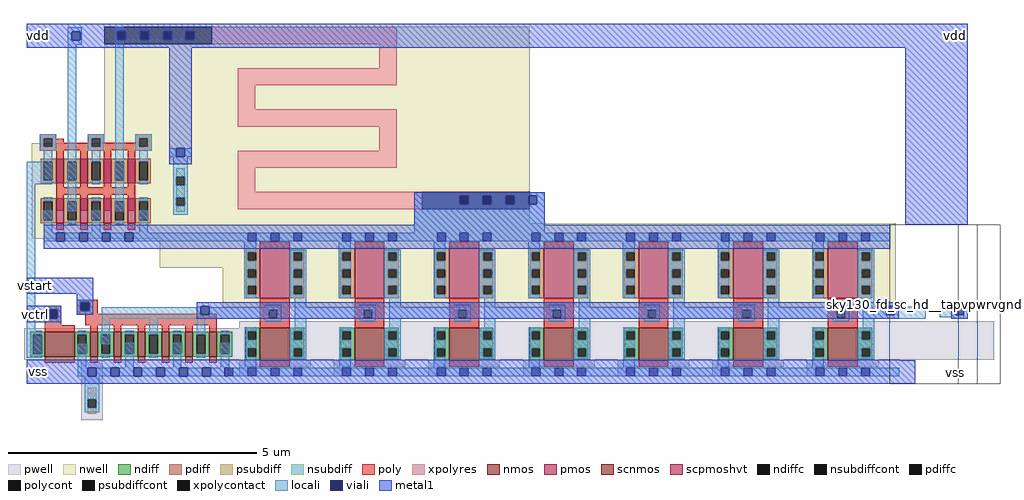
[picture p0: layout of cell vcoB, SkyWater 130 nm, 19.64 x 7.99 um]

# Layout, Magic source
magic
tech sky130A
magscale 1 2
<< nwell >>
rect 6 991 40 1005
rect 198 991 232 1005
rect -40 961 278 991
rect 6 953 40 961
rect 198 953 232 961
rect 294 953 328 999
rect 544 850 1866 905
rect 376 849 1866 850
rect -90 811 -56 845
rect 102 811 136 845
rect 294 811 328 845
rect 376 669 630 849
<< pwell >>
rect 696 426 3735 453
rect -170 298 3735 426
rect 61 212 147 298
<< poly >>
rect -106 1190 -40 1206
rect -106 1156 -90 1190
rect -56 1188 -40 1190
rect 86 1190 152 1206
rect -56 1173 -10 1188
rect 86 1173 102 1190
rect -56 1156 102 1173
rect 136 1173 152 1190
rect 278 1190 344 1206
rect 278 1173 294 1190
rect 136 1156 294 1173
rect 328 1156 344 1190
rect -106 1143 344 1156
rect -106 1140 -10 1143
rect -40 994 -10 1140
rect 56 1140 182 1143
rect 56 994 86 1140
rect 152 994 182 1140
rect 248 1140 344 1143
rect 248 994 278 1140
rect -40 964 278 994
rect -40 898 -10 964
rect 56 898 86 964
rect 152 898 182 964
rect 248 898 278 964
rect 42 530 126 540
rect -86 500 -20 516
rect -86 466 -70 500
rect -36 466 -20 500
rect 42 496 58 530
rect 92 496 126 530
rect 42 484 126 496
rect 42 480 606 484
rect -86 412 -20 466
rect 76 438 606 480
rect 96 412 126 438
<< polycont >>
rect -90 1156 -56 1190
rect 102 1156 136 1190
rect 294 1156 328 1190
rect -70 466 -36 500
rect 58 496 92 530
<< locali >>
rect 6 1620 62 1638
rect 6 1586 22 1620
rect 56 1586 62 1620
rect 6 1568 62 1586
rect 198 1621 232 1639
rect 198 1587 206 1621
rect 198 1586 516 1587
rect -106 1190 -40 1206
rect -106 1156 -90 1190
rect -56 1156 -40 1190
rect -106 1140 -40 1156
rect -90 1097 -56 1140
rect -158 1005 -56 1097
rect -158 416 -124 1005
rect -90 811 -56 900
rect 6 897 40 1568
rect 86 1190 152 1206
rect 86 1156 102 1190
rect 136 1156 152 1190
rect 86 1140 152 1156
rect 102 1113 136 1140
rect 102 811 136 900
rect 198 897 232 1586
rect 278 1190 344 1206
rect 278 1156 294 1190
rect 328 1156 344 1190
rect 278 1140 344 1156
rect 294 1113 328 1140
rect 1402 959 1926 974
rect 1402 925 1585 959
rect 1619 925 1677 959
rect 1711 925 1769 959
rect 1803 925 1861 959
rect 1895 925 1926 959
rect 294 811 328 900
rect 1402 811 1926 925
rect -90 777 -40 811
rect -6 777 52 811
rect 86 777 144 811
rect 178 777 236 811
rect 270 777 651 811
rect 42 530 108 540
rect -86 500 -20 516
rect -86 466 -70 500
rect -36 466 -20 500
rect 42 496 58 530
rect 92 496 108 530
rect 3252 514 3352 530
rect 42 480 108 496
rect 142 480 542 511
rect 576 480 718 511
rect -86 450 -20 466
rect 142 464 718 480
rect 966 464 1099 511
rect 1347 464 1480 511
rect 1728 464 1861 511
rect 2109 464 2242 511
rect 2490 464 2623 511
rect 2871 464 3004 511
rect 3252 480 3302 514
rect 3336 513 3352 514
rect 3563 514 3613 530
rect 3336 480 3460 513
rect 3563 505 3579 514
rect 3252 465 3460 480
rect 3517 480 3579 505
rect 3517 471 3613 480
rect 3252 464 3352 465
rect 3563 464 3613 471
rect -158 308 -98 416
rect 46 267 80 363
rect 142 361 176 464
rect 334 416 368 464
rect 526 416 560 464
rect 238 267 272 367
rect 430 267 464 367
rect 622 267 656 367
rect 46 233 87 267
rect 121 233 179 267
rect 213 233 271 267
rect 305 233 363 267
rect 397 233 455 267
rect 489 233 547 267
rect 581 233 639 267
rect 3318 233 3353 267
<< viali >>
rect 22 1586 56 1620
rect 206 1587 240 1621
rect 298 1587 332 1621
rect 390 1587 424 1621
rect 482 1587 516 1621
rect 1585 925 1619 959
rect 1677 925 1711 959
rect 1769 925 1803 959
rect 1861 925 1895 959
rect -40 777 -6 811
rect 52 777 86 811
rect 144 777 178 811
rect 236 777 270 811
rect -70 466 -36 500
rect 58 496 92 530
rect 542 480 576 514
rect 3302 480 3336 514
rect 3579 480 3613 514
rect 87 233 121 267
rect 179 233 213 267
rect 271 233 305 267
rect 363 233 397 267
rect 455 233 489 267
rect 547 233 581 267
rect 639 233 673 267
<< metal1 >>
rect 3353 1651 3629 1652
rect -158 1621 3629 1651
rect -158 1620 206 1621
rect -158 1586 22 1620
rect 56 1587 206 1620
rect 240 1587 298 1621
rect 332 1587 390 1621
rect 424 1587 482 1621
rect 516 1587 3629 1621
rect 56 1586 3629 1587
rect -158 1555 3629 1586
rect 414 1181 506 1555
rect 1402 959 1926 974
rect 1402 925 1585 959
rect 1619 925 1677 959
rect 1711 925 1769 959
rect 1803 925 1861 959
rect 1895 925 1926 959
rect 1402 842 1926 925
rect 3377 842 3629 1555
rect -90 811 3318 842
rect -90 777 -40 811
rect -6 777 52 811
rect 86 777 144 811
rect 178 777 236 811
rect 270 777 3318 811
rect -90 746 3318 777
rect -158 564 108 630
rect 42 530 108 564
rect -158 500 -20 516
rect -158 466 -70 500
rect -36 466 -20 500
rect 42 496 58 530
rect 92 496 108 530
rect 42 480 108 496
rect 526 514 3352 530
rect 526 480 542 514
rect 576 480 3302 514
rect 3336 480 3352 514
rect -158 450 -20 466
rect 526 464 3352 480
rect 3563 514 3629 530
rect 3563 480 3579 514
rect 3613 480 3629 514
rect 3563 464 3629 480
rect -158 297 3353 298
rect -158 267 3417 297
rect -158 233 87 267
rect 121 233 179 267
rect 213 233 271 267
rect 305 233 363 267
rect 397 233 455 267
rect 489 233 547 267
rect 581 233 639 267
rect 673 233 3417 267
rect -158 202 3417 233
use tap_1_gnd  sky130_fd_sc_hd__tapvgnd_1_0
transform 1 0 58 0 -1 250
box 0 -48 92 195
use sky130_fd_sc_hd__tapvpwrvgnd_1  sky130_fd_sc_hd__tapvpwrvgnd_1_0 $PDKPATH/libs.ref/sky130_fd_sc_hd/mag
transform 1 0 3629 0 1 250
box -38 -48 130 592
use tap_1_pwr  tap_1_pwr_0
transform 1 0 414 0 1 589
box -38 261 130 592
use inv_0p25  x1
transform -1 0 1121 0 -1 12
box -313 -837 110 -190
use inv_0p25  x2
transform -1 0 1502 0 -1 12
box -313 -837 110 -190
use inv_0p25  x3
transform -1 0 1883 0 -1 12
box -313 -837 110 -190
use inv_0p25  x4
transform -1 0 2264 0 -1 12
box -313 -837 110 -190
use inv_0p25  x5
transform -1 0 2645 0 -1 12
box -313 -837 110 -190
use sky130_fd_sc_hd__inv_1  x6 $PDKPATH/libs.ref/sky130_fd_sc_hd/mag
transform 1 0 3353 0 1 250
box -38 -48 314 592
use inv_0p25  x12
transform -1 0 740 0 -1 12
box -313 -837 110 -190
use inv_0p25  x13
transform -1 0 3026 0 -1 12
box -313 -837 110 -190
use sky130_fd_pr__nfet_01v8_NAAUVB  XM1
transform 1 0 -26 0 1 362
box -118 -76 118 76
use sky130_fd_pr__pfet_01v8_52X2FE  XM2
transform 1 0 119 0 -1 1059
box -257 -112 257 112
use sky130_fd_pr__pfet_01v8_52X2FE  XM3
transform 1 0 119 0 -1 899
box -257 -112 257 112
use sky130_fd_pr__nfet_01v8_YEG85W  XM4
transform 1 0 351 0 1 362
box -317 -76 317 76
use sky130_fd_pr__res_xhigh_po_0p35_5KPUR3  XR3
transform 0 1 1010 -1 0 1272
box -367 -856 367 856
<< labels >>
flabel metal1 -158 1555 -62 1651 0 FreeSans 320 0 0 0 vdd
port 0 nsew
flabel metal1 3533 1556 3629 1652 0 FreeSans 320 0 0 0 vdd
port 1 nsew
flabel metal1 -158 202 -62 298 0 FreeSans 320 0 0 0 vss
port 2 nsew
flabel metal1 -158 450 -92 516 0 FreeSans 240 0 0 0 vctrl
port 5 nsew
flabel metal1 -158 564 -92 630 0 FreeSans 240 0 0 0 vstart
port 6 nsew
flabel metal1 3563 464 3629 530 0 FreeSans 240 0 0 0 vo
port 7 nsew
flabel metal1 3533 202 3629 297 0 FreeSans 320 0 0 0 vss
port 3 nsew
<< end >>

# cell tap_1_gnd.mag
magic
tech sky130A
magscale 1 2
<< pwell >>
rect 3 38 89 195
<< psubdiff >>
rect 29 145 63 169
rect 29 64 63 111
<< psubdiffcont >>
rect 29 111 63 145
<< locali >>
rect 17 145 75 162
rect 17 111 29 145
rect 63 111 75 145
rect 17 17 75 111
rect 0 -17 29 17
rect 63 -17 92 17
<< viali >>
rect 29 -17 63 17
<< metal1 >>
rect 0 17 92 48
rect 0 -17 29 17
rect 63 -17 92 17
rect 0 -48 92 -17
<< labels >>
flabel metal1 s 32 -13 62 14 0 FreeSans 200 0 0 0 VGND
port 1 nsew ground bidirectional abutment
rlabel comment s 0 0 0 0 4 tapvgnd_1
rlabel metal1 s 0 -48 92 48 1 VGND
port 1 nsew ground bidirectional abutment
<< end >>

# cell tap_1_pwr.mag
magic
tech sky130A
magscale 1 2
<< nwell >>
rect -38 261 130 582
<< nsubdiff >>
rect 29 447 63 480
rect 29 363 63 413
rect 29 305 63 329
<< nsubdiffcont >>
rect 29 413 63 447
rect 29 329 63 363
<< locali >>
rect 0 527 29 561
rect 63 527 92 561
rect 17 447 75 527
rect 17 413 29 447
rect 63 413 75 447
rect 17 363 75 413
rect 17 329 29 363
rect 63 329 75 363
rect 17 294 75 329
<< viali >>
rect 29 527 63 561
<< metal1 >>
rect 0 561 92 592
rect 0 527 29 561
rect 63 527 92 561
rect 0 496 92 527
<< labels >>
flabel metal1 s 26 535 69 555 0 FreeSans 200 0 0 0 VPWR
port 4 nsew power bidirectional abutment
rlabel metal1 s 0 496 92 592 1 VPWR
port 4 nsew power bidirectional abutment
<< end >>

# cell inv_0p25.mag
magic
tech sky130A
magscale 1 2
<< nwell >>
rect -313 -837 110 -499
<< pwell >>
rect 10 -259 44 -221
rect -244 -441 44 -259
<< ndiffc >>
rect -210 -333 -176 -299
rect -24 -333 10 -299
rect -210 -401 -176 -367
rect -24 -401 10 -367
<< pdiffc >>
rect -210 -584 -176 -550
rect -24 -584 10 -550
rect -210 -652 -176 -618
rect -24 -652 10 -618
rect -210 -720 -176 -686
rect -24 -720 10 -686
<< poly >>
rect -160 -454 -40 -441
rect -160 -488 -110 -454
rect -76 -488 -40 -454
rect -160 -509 -40 -488
<< polycont >>
rect -110 -488 -76 -454
<< locali >>
rect -292 -255 -209 -221
rect -175 -255 -117 -221
rect -83 -255 -25 -221
rect 9 -255 89 -221
rect -226 -299 -160 -289
rect -226 -333 -210 -299
rect -176 -333 -160 -299
rect -226 -367 -160 -333
rect -226 -401 -210 -367
rect -176 -401 -160 -367
rect -226 -415 -160 -401
rect -24 -299 22 -255
rect 10 -333 22 -299
rect -24 -367 22 -333
rect 10 -401 22 -367
rect -226 -535 -180 -415
rect -24 -417 22 -401
rect -126 -452 -60 -441
rect -126 -454 22 -452
rect -126 -488 -110 -454
rect -76 -488 22 -454
rect -126 -499 22 -488
rect -126 -509 -60 -499
rect -226 -550 -160 -535
rect -226 -584 -210 -550
rect -176 -584 -160 -550
rect -226 -618 -160 -584
rect -226 -652 -210 -618
rect -176 -652 -160 -618
rect -226 -686 -160 -652
rect -226 -720 -210 -686
rect -176 -720 -160 -686
rect -226 -729 -160 -720
rect -24 -550 23 -534
rect 10 -584 23 -550
rect -24 -618 23 -584
rect 10 -652 23 -618
rect -24 -686 23 -652
rect 10 -720 23 -686
rect -24 -765 23 -720
rect -292 -799 -209 -765
rect -175 -799 -117 -765
rect -83 -799 -25 -765
rect 9 -799 89 -765
<< viali >>
rect -209 -255 -175 -221
rect -117 -255 -83 -221
rect -25 -255 9 -221
rect -209 -799 -175 -765
rect -117 -799 -83 -765
rect -25 -799 9 -765
<< metal1 >>
rect -292 -221 89 -190
rect -292 -255 -209 -221
rect -175 -255 -117 -221
rect -83 -255 -25 -221
rect 9 -255 89 -221
rect -292 -286 89 -255
rect -292 -765 89 -734
rect -292 -799 -209 -765
rect -175 -799 -117 -765
rect -83 -799 -25 -765
rect 9 -799 89 -765
rect -292 -830 89 -799
use sky130_fd_pr__nfet_01v8_RFBLNB  XM1
transform 1 0 -100 0 1 -350
box -118 -91 118 91
use sky130_fd_pr__pfet_01v8_hvt_XPYSBA  XM2
transform 1 0 -100 0 1 -635
box -154 -136 154 136
<< labels >>
flabel metal1 -292 -286 89 -190 7 FreeSans 360 0 0 0 VSS
port 0 w
flabel metal1 -292 -830 89 -734 7 FreeSans 360 0 0 0 VDD
port 1 w
flabel locali -25 -499 22 -452 3 FreeSans 360 0 0 0 A
port 2 e
flabel locali -226 -499 -180 -452 7 FreeSans 360 0 0 0 Y
port 3 w
flabel pwell 10 -255 44 -221 0 FreeSans 160 0 0 0 VNB
port 4 nsew
flabel nwell 10 -799 44 -765 0 FreeSans 160 0 0 0 VPB
port 5 nsew
<< end >>

# cell sky130_fd_pr__nfet_01v8_NAAUVB: kit device sky130_fd_pr__nfet_01v8, w .5 l .6 m 1 nf 1 diffcov 100 polycov 100 guard 0 glc 0 grc 0 gtc 0 gbc 0 tbcov 100 rlcov 100 topc 0 botc 0 poverlap 0 doverlap 1 lmin 0.15 wmin 0.42 compatible {sky130_fd_pr__nfet_01v8 sky130_fd_pr__nfet_01v8_lvt sky130_fd_bs_flash__special_sonosfet_star sky130_fd_pr__nfet_g5v0d10v5 sky130_fd_pr__nfet_05v0_nvt sky130_fd_pr__nfet_03v3_nvt} full_metal 0 viasrc 100 viadrn 100 viagate 100 viagb 0 viagr 0 viagl 0 viagt 0

# cell sky130_fd_pr__pfet_01v8_52X2FE: kit device sky130_fd_pr__pfet_01v8, w 0.5 l 0.15 m 1 nf 4 diffcov 100 polycov 100 guard 0 glc 0 grc 0 gtc 0 gbc 0 tbcov 100 rlcov 100 topc 0 botc 0 poverlap 0 doverlap 1 lmin 0.15 wmin 0.42 compatible {sky130_fd_pr__pfet_01v8 sky130_fd_pr__pfet_01v8_lvt sky130_fd_pr__pfet_01v8_hvt sky130_fd_pr__pfet_g5v0d10v5} full_metal 0 viasrc 100 viadrn 100 viagate 100 viagb 0 viagr 0 viagl 0 viagt 0

# cell sky130_fd_pr__nfet_01v8_YEG85W: kit device sky130_fd_pr__nfet_01v8, w .5 l 0.150 m 1 nf 6 diffcov 100 polycov 100 guard 0 glc 0 grc 0 gtc 0 gbc 0 tbcov 100 rlcov 100 topc 0 botc 0 poverlap 0 doverlap 1 lmin 0.15 wmin 0.42 compatible {sky130_fd_pr__nfet_01v8 sky130_fd_pr__nfet_01v8_lvt sky130_fd_bs_flash__special_sonosfet_star sky130_fd_pr__nfet_g5v0d10v5 sky130_fd_pr__nfet_05v0_nvt sky130_fd_pr__nfet_03v3_nvt} full_metal 0 viasrc 100 viadrn 100 viagate 100 viagb 0 viagr 0 viagl 0 viagt 0

# cell sky130_fd_pr__res_xhigh_po_0p35_5KPUR3: kit device sky130_fd_pr__res_xhigh_po_0p35, w 0.35 l 3.2 m 1 nx 5 wmin 0.350 lmin 0.50 rho 2000 val 100.504k dummy 0 dw 0.0 term 188.2 sterm 0.0 caplen 0 wmax 0.350 guard 0 glc 0 grc 0 gtc 0 gbc 0 compatible {sky130_fd_pr__res_xhigh_po_0p35 sky130_fd_pr__res_xhigh_po_0p69 sky130_fd_pr__res_xhigh_po_1p41 sky130_fd_pr__res_xhigh_po_2p85 sky130_fd_pr__res_xhigh_po_5p73} snake 1 full_metal 0 n_guard 0 hv_guard 0 vias 1 viagb 0 viagt 0 viagl 0 viagr 0

# cell sky130_fd_pr__nfet_01v8_RFBLNB: kit device sky130_fd_pr__nfet_01v8, w 0.65 l 0.6 m 1 nf 1 diffcov 100 polycov 100 guard 1 glc 1 grc 1 gtc 1 gbc 1 tbcov 100 rlcov 100 topc 1 botc 1 poverlap 0 doverlap 1 lmin 0.15 wmin 0.42 compatible {sky130_fd_pr__nfet_01v8 sky130_fd_pr__nfet_01v8_lvt sky130_fd_bs_flash__special_sonosfet_star sky130_fd_pr__nfet_g5v0d10v5 sky130_fd_pr__nfet_05v0_nvt sky130_fd_pr__nfet_03v3_nvt} full_metal 1 viasrc 100 viadrn 100 viagate 100 viagb 0 viagr 0 viagl 0 viagt 0

# cell sky130_fd_pr__pfet_01v8_hvt_XPYSBA: kit device sky130_fd_pr__pfet_01v8_hvt, w 1.0 l 0.6 m 1 nf 1 diffcov 100 polycov 100 guard 1 glc 1 grc 1 gtc 1 gbc 1 tbcov 100 rlcov 100 topc 1 botc 1 poverlap 0 doverlap 1 lmin 0.15 wmin 0.42 compatible {sky130_fd_pr__pfet_01v8 sky130_fd_pr__pfet_01v8_lvt sky130_fd_pr__pfet_01v8_hvt sky130_fd_pr__pfet_g5v0d10v5} full_metal 1 viasrc 100 viadrn 100 viagate 100 viagb 0 viagr 0 viagl 0 viagt 0
